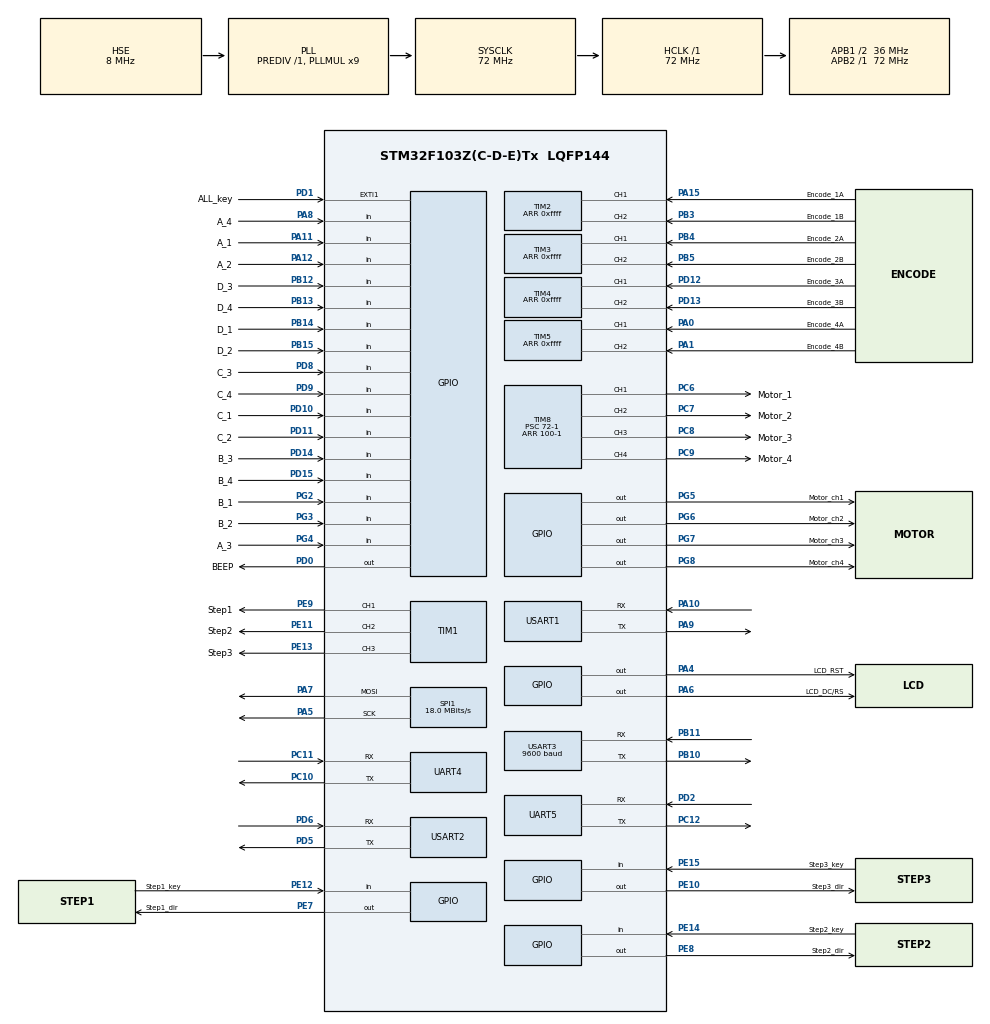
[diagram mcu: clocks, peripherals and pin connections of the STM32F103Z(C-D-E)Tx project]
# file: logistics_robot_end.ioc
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Dma.Request0=USART1_RX
Dma.Request1=USART2_RX
Dma.Request2=USART3_RX
Dma.Request3=USART3_TX
Dma.USART1_RX.0.Direction=DMA_PERIPH_TO_MEMORY
Dma.USART1_RX.0.Instance=DMA1_Channel5
Dma.USART1_RX.0.MemDataAlignment=DMA_MDATAALIGN_BYTE
Dma.USART1_RX.0.MemInc=DMA_MINC_ENABLE
Dma.USART1_RX.0.Mode=DMA_NORMAL
Dma.USART1_RX.0.PeriphDataAlignment=DMA_PDATAALIGN_BYTE
Dma.USART1_RX.0.PeriphInc=DMA_PINC_DISABLE
Dma.USART1_RX.0.Priority=DMA_PRIORITY_LOW
Dma.USART2_RX.1.Direction=DMA_PERIPH_TO_MEMORY
Dma.USART2_RX.1.Instance=DMA1_Channel6
Dma.USART2_RX.1.MemDataAlignment=DMA_MDATAALIGN_BYTE
Dma.USART2_RX.1.MemInc=DMA_MINC_ENABLE
Dma.USART2_RX.1.Mode=DMA_NORMAL
Dma.USART2_RX.1.PeriphDataAlignment=DMA_PDATAALIGN_BYTE
Dma.USART2_RX.1.PeriphInc=DMA_PINC_DISABLE
Dma.USART2_RX.1.Priority=DMA_PRIORITY_VERY_HIGH
Dma.USART3_RX.2.Direction=DMA_PERIPH_TO_MEMORY
Dma.USART3_RX.2.Instance=DMA1_Channel3
Dma.USART3_RX.2.MemDataAlignment=DMA_MDATAALIGN_BYTE
Dma.USART3_RX.2.MemInc=DMA_MINC_ENABLE
Dma.USART3_RX.2.Mode=DMA_NORMAL
Dma.USART3_RX.2.PeriphDataAlignment=DMA_PDATAALIGN_BYTE
Dma.USART3_RX.2.PeriphInc=DMA_PINC_DISABLE
Dma.USART3_RX.2.Priority=DMA_PRIORITY_LOW
Dma.USART3_TX.3.Direction=DMA_MEMORY_TO_PERIPH
Dma.USART3_TX.3.Instance=DMA1_Channel2
Dma.USART3_TX.3.MemDataAlignment=DMA_MDATAALIGN_BYTE
Dma.USART3_TX.3.MemInc=DMA_MINC_ENABLE
Dma.USART3_TX.3.Mode=DMA_NORMAL
Dma.USART3_TX.3.PeriphDataAlignment=DMA_PDATAALIGN_BYTE
Dma.USART3_TX.3.PeriphInc=DMA_PINC_DISABLE
Dma.USART3_TX.3.Priority=DMA_PRIORITY_LOW
Mcu.Family=STM32F1
Mcu.Name=STM32F103Z(C-D-E)Tx
Mcu.Package=LQFP144
NVIC.DMA1_Channel2_IRQn=true\:3\:0\:true\:false\:true\:false\:true
NVIC.DMA1_Channel3_IRQn=true\:3\:0\:true\:false\:true\:false\:true
NVIC.DMA1_Channel5_IRQn=true\:3\:0\:true\:false\:true\:false\:true
NVIC.DMA1_Channel6_IRQn=true\:3\:0\:true\:false\:true\:false\:true
NVIC.EXTI1_IRQn=true\:0\:0\:false\:false\:true\:true\:true
NVIC.PriorityGroup=NVIC_PRIORITYGROUP_4
NVIC.TIM6_IRQn=true\:1\:0\:true\:false\:true\:true\:true
NVIC.USART1_IRQn=true\:4\:0\:true\:false\:true\:true\:true
NVIC.USART2_IRQn=true\:4\:0\:true\:false\:true\:true\:true
NVIC.USART3_IRQn=true\:4\:0\:true\:false\:true\:true\:true
OSC_IN.Mode=HSE-External-Oscillator
OSC_IN.Signal=RCC_OSC_IN
OSC_OUT.Mode=HSE-External-Oscillator
OSC_OUT.Signal=RCC_OSC_OUT
PA0-WKUP.GPIO_Label=Encode_4A
PA0-WKUP.Signal=S_TIM5_CH1
PA1.GPIO_Label=Encode_4B
PA1.Signal=S_TIM5_CH2
PA10.GPIO_PuPd=GPIO_PULLUP
PA10.Mode=Asynchronous
PA10.Signal=USART1_RX
PA11.GPIO_Label=A_1
PA11.GPIO_PuPd=GPIO_PULLDOWN
PA11.Signal=GPIO_Input
PA12.GPIO_Label=A_2
PA12.GPIO_PuPd=GPIO_PULLDOWN
PA12.Signal=GPIO_Input
PA13.Mode=Serial_Wire
PA13.Signal=SYS_JTMS-SWDIO
PA14.Mode=Serial_Wire
PA14.Signal=SYS_JTCK-SWCLK
PA15.GPIO_Label=Encode_1A
PA15.Signal=S_TIM2_CH1_ETR
PA4.GPIO_Label=LCD_RST
PA4.Signal=GPIO_Output
PA5.Mode=TX_Only_Simplex_Unidirect_Master
PA5.Signal=SPI1_SCK
PA6.GPIO_Label=LCD_DC/RS
PA6.Signal=GPIO_Output
PA7.Mode=TX_Only_Simplex_Unidirect_Master
PA7.Signal=SPI1_MOSI
PA8.GPIO_Label=A_4
PA8.GPIO_PuPd=GPIO_PULLDOWN
PA8.Signal=GPIO_Input
PA9.Mode=Asynchronous
PA9.Signal=USART1_TX
PB10.Mode=Asynchronous
PB10.Signal=USART3_TX
PB11.GPIO_PuPd=GPIO_PULLUP
PB11.Mode=Asynchronous
PB11.Signal=USART3_RX
PB12.GPIO_Label=D_3
PB12.GPIO_PuPd=GPIO_PULLDOWN
PB12.Signal=GPIO_Input
PB13.GPIO_Label=D_4
PB13.GPIO_PuPd=GPIO_PULLDOWN
PB13.Signal=GPIO_Input
PB14.GPIO_Label=D_1
PB14.GPIO_PuPd=GPIO_NOPULL
PB14.Signal=GPIO_Input
PB15.GPIO_Label=D_2
PB15.GPIO_PuPd=GPIO_PULLDOWN
PB15.Signal=GPIO_Input
PB3.GPIO_Label=Encode_1B
PB3.Signal=S_TIM2_CH2
PB4.GPIO_Label=Encode_2A
PB4.Signal=S_TIM3_CH1
PB5.GPIO_Label=Encode_2B
PB5.Signal=S_TIM3_CH2
PC10.Mode=Asynchronous
PC10.Signal=UART4_TX
PC11.Mode=Asynchronous
PC11.Signal=UART4_RX
PC12.Mode=Asynchronous
PC12.Signal=UART5_TX
PC6.GPIO_Label=Motor_1
PC6.Signal=S_TIM8_CH1
PC7.GPIO_Label=Motor_2
PC7.Signal=S_TIM8_CH2
PC8.GPIO_Label=Motor_3
PC8.Signal=S_TIM8_CH3
PC9.GPIO_Label=Motor_4
PC9.Signal=S_TIM8_CH4
PD0.GPIO_Label=BEEP
PD0.GPIO_PuPd=GPIO_PULLDOWN
PD0.Signal=GPIO_Output
PD1.GPIO_Label=ALL_key
PD1.GPIO_ModeDefaultEXTI=GPIO_MODE_IT_RISING_FALLING
PD1.GPIO_PuPd=GPIO_PULLUP
PD1.Signal=GPXTI1
PD10.GPIO_Label=C_1
PD10.GPIO_PuPd=GPIO_PULLDOWN
PD10.Signal=GPIO_Input
PD11.GPIO_Label=C_2
PD11.GPIO_PuPd=GPIO_PULLDOWN
PD11.Signal=GPIO_Input
PD12.GPIO_Label=Encode_3A
PD12.Signal=S_TIM4_CH1
PD13.GPIO_Label=Encode_3B
PD13.Signal=S_TIM4_CH2
PD14.GPIO_Label=B_3
PD14.GPIO_PuPd=GPIO_PULLDOWN
PD14.Signal=GPIO_Input
PD15.GPIO_Label=B_4
PD15.GPIO_PuPd=GPIO_PULLDOWN
PD15.Signal=GPIO_Input
PD2.Mode=Asynchronous
PD2.Signal=UART5_RX
PD5.Mode=Asynchronous
PD5.Signal=USART2_TX
PD6.GPIO_PuPd=GPIO_PULLUP
PD6.Mode=Asynchronous
PD6.Signal=USART2_RX
PD8.GPIO_Label=C_3
PD8.GPIO_PuPd=GPIO_PULLDOWN
PD8.Signal=GPIO_Input
PD9.GPIO_Label=C_4
PD9.GPIO_PuPd=GPIO_PULLDOWN
PD9.Signal=GPIO_Input
PE10.GPIO_Label=Step3_dir
PE10.Signal=GPIO_Output
PE11.GPIO_Label=Step2
PE11.Signal=S_TIM1_CH2
PE12.GPIO_Label=Step1_key
PE12.Signal=GPIO_Input
PE13.GPIO_Label=Step3
PE13.Signal=S_TIM1_CH3
PE14.GPIO_Label=Step2_key
PE14.Signal=GPIO_Input
PE15.GPIO_Label=Step3_key
PE15.Signal=GPIO_Input
PE7.GPIO_Label=Step1_dir
PE7.Signal=GPIO_Output
PE8.GPIO_Label=Step2_dir
PE8.Signal=GPIO_Output
PE9.GPIO_Label=Step1
PE9.Signal=S_TIM1_CH1
PG2.GPIO_Label=B_1
PG2.GPIO_PuPd=GPIO_PULLDOWN
PG2.Signal=GPIO_Input
PG3.GPIO_Label=B_2
PG3.GPIO_PuPd=GPIO_PULLDOWN
PG3.Signal=GPIO_Input
PG4.GPIO_Label=A_3
PG4.GPIO_PuPd=GPIO_PULLDOWN
PG4.Signal=GPIO_Input
PG5.GPIO_Label=Motor_ch1
PG5.Signal=GPIO_Output
PG6.GPIO_Label=Motor_ch2
PG6.Signal=GPIO_Output
PG7.GPIO_Label=Motor_ch3
PG7.Signal=GPIO_Output
PG8.GPIO_Label=Motor_ch4
PG8.Signal=GPIO_Output
ProjectManager.HeapSize=0x200
ProjectManager.StackSize=0x400
ProjectManager.TargetToolchain=MDK-ARM V5.27
RCC.AHBFreq_Value=72000000
RCC.APB1CLKDivider=RCC_HCLK_DIV2
RCC.APB1Freq_Value=36000000
RCC.APB1TimFreq_Value=72000000
RCC.APB2Freq_Value=72000000
RCC.APB2TimFreq_Value=72000000
RCC.HCLKFreq_Value=72000000
RCC.PLLMUL=RCC_PLL_MUL9
RCC.PLLSourceVirtual=RCC_PLLSOURCE_HSE
RCC.SYSCLKFreq_VALUE=72000000
RCC.SYSCLKSource=RCC_SYSCLKSOURCE_PLLCLK
RCC.USBFreq_Value=72000000
SH.S_TIM1_CH1.0=TIM1_CH1,Output Compare1 CH1
SH.S_TIM1_CH2.0=TIM1_CH2,Output Compare2 CH2
SH.S_TIM1_CH3.0=TIM1_CH3,Output Compare3 CH3
SH.S_TIM2_CH1_ETR.0=TIM2_CH1,Encoder_Interface
SH.S_TIM2_CH2.0=TIM2_CH2,Encoder_Interface
SH.S_TIM3_CH1.0=TIM3_CH1,Encoder_Interface
SH.S_TIM3_CH2.0=TIM3_CH2,Encoder_Interface
SH.S_TIM4_CH1.0=TIM4_CH1,Encoder_Interface
SH.S_TIM4_CH2.0=TIM4_CH2,Encoder_Interface
SH.S_TIM5_CH1.0=TIM5_CH1,Encoder_Interface
SH.S_TIM5_CH2.0=TIM5_CH2,Encoder_Interface
SH.S_TIM8_CH1.0=TIM8_CH1,PWM Generation1 CH1
SH.S_TIM8_CH2.0=TIM8_CH2,PWM Generation2 CH2
SH.S_TIM8_CH3.0=TIM8_CH3,PWM Generation3 CH3
SH.S_TIM8_CH4.0=TIM8_CH4,PWM Generation4 CH4
SPI1.BaudRatePrescaler=SPI_BAUDRATEPRESCALER_4
SPI1.CalculateBaudRate=18.0 MBits/s
SPI1.Direction=SPI_DIRECTION_2LINES
SPI1.Mode=SPI_MODE_MASTER
SPI1.VirtualType=VM_MASTER
TIM1.Channel-Output\ Compare1\ CH1=TIM_CHANNEL_1
TIM1.Channel-Output\ Compare2\ CH2=TIM_CHANNEL_2
TIM1.Channel-Output\ Compare3\ CH3=TIM_CHANNEL_3
TIM2.EncoderMode=TIM_ENCODERMODE_TI12
TIM2.Period=0xffff
TIM3.EncoderMode=TIM_ENCODERMODE_TI12
TIM3.Period=0xffff
TIM4.EncoderMode=TIM_ENCODERMODE_TI12
TIM4.Period=0xffff
TIM5.EncoderMode=TIM_ENCODERMODE_TI12
TIM5.Period=0xffff
TIM6.Period=100-1
TIM6.Prescaler=7200-1
TIM8.Channel-PWM\ Generation1\ CH1=TIM_CHANNEL_1
TIM8.Channel-PWM\ Generation2\ CH2=TIM_CHANNEL_2
TIM8.Channel-PWM\ Generation3\ CH3=TIM_CHANNEL_3
TIM8.Channel-PWM\ Generation4\ CH4=TIM_CHANNEL_4
TIM8.Period=100-1
TIM8.Prescaler=72-1
UART4.VirtualMode=Asynchronous
UART5.VirtualMode=Asynchronous
USART1.VirtualMode=VM_ASYNC
USART2.VirtualMode=VM_ASYNC
USART3.BaudRate=9600
USART3.VirtualMode=VM_ASYNC
VP_TIM6_VS_ClockSourceINT.Mode=Enable_Timer
VP_TIM8_VS_ClockSourceINT.Mode=Internal
board=custom

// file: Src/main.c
/* USER CODE BEGIN Header */
/**
  ******************************************************************************
  * @file           : main.c
  * @brief          : Main program body
  ******************************************************************************
  * @attention
  *
  * <h2><center>&copy; Copyright (c) 2021 STMicroelectronics.
  * All rights reserved.</center></h2>
  *
  * This software component is licensed by ST under BSD 3-Clause license,
  * the "License"; You may not use this file except in compliance with the
  * License. You may obtain a copy of the License at:
  *                        opensource.org/licenses/BSD-3-Clause
  *
  ******************************************************************************
  */
/* USER CODE END Header */

#include "main.h"
#include "dma.h"
#include "spi.h"
#include "tim.h"
#include "usart.h"
#include "gpio.h"

/* USER CODE BEGIN Includes */
#include "Bsp.h"//板级支持包头文件
/* USER CODE END Includes */

void SystemClock_Config(void);

int main(void)
{

  /* MCU Configuration--------------------------------------------------------*/

  /* Reset of all peripherals, Initializes the Flash interface and the Systick. */
  HAL_Init();

  /* Configure the system clock */
  SystemClock_Config();

  /* Initialize all configured peripherals */
  MX_GPIO_Init();
  MX_DMA_Init();
  MX_SPI1_Init();
  MX_TIM1_Init();
  MX_TIM2_Init();
  MX_TIM3_Init();
  MX_TIM4_Init();
  MX_TIM5_Init();
  MX_TIM6_Init();
  MX_TIM8_Init();
  MX_UART4_Init();
  MX_UART5_Init();
  MX_USART1_UART_Init();
  MX_USART2_UART_Init();
  MX_USART3_UART_Init();
  /* USER CODE BEGIN 2 */
  Bsp_Init();//外设初始化

  HAL_Delay(500);

	Beep(BzzBe);
   #if (Work_Debug_flag == 2)//工作模式
   {
	   Task_Flag = 0;
   }
   #endif
  /* USER CODE END 2 */

  /* Infinite loop */
  /* USER CODE BEGIN WHILE */
  while (1)
  {
	if(run_flag)
    {
    #if (Work_Debug_flag == 1)//工作模式
    {
      Working();
      Task_mode(task_mode);
    }
    #elif (Work_Debug_flag == 2)//调试模式
    {
      if(Task_Flag)//忙碌跳出
      {
        HAL_Delay(300);
        Beep(Be);
      }
      else
      {
        Task_mode(Debug_mode);
      }
    }
    #endif
	}
	else
	{
		Task_stop();
	}

	if(Rack_task_1[0] == 0 && Rack_task_2[0] == 0)//接收扫码数据
	  Usart_rx_MG65();
	else
	{
		if(Number_display_flag == 0x00)
		{
			Number_display();
		}
	}

  Data_display();
   // HAL_Delay(5);
    /* USER CODE END WHILE */

  }
}

void SystemClock_Config(void)
{
  RCC_OscInitTypeDef RCC_OscInitStruct = {0};
  RCC_ClkInitTypeDef RCC_ClkInitStruct = {0};

  /** Initializes the CPU, AHB and APB busses clocks
  */
  RCC_OscInitStruct.OscillatorType = RCC_OSCILLATORTYPE_HSE;
  RCC_OscInitStruct.HSEState = RCC_HSE_ON;
  RCC_OscInitStruct.HSEPredivValue = RCC_HSE_PREDIV_DIV1;
  RCC_OscInitStruct.HSIState = RCC_HSI_ON;
  RCC_OscInitStruct.PLL.PLLState = RCC_PLL_ON;
  RCC_OscInitStruct.PLL.PLLSource = RCC_PLLSOURCE_HSE;
  RCC_OscInitStruct.PLL.PLLMUL = RCC_PLL_MUL9;
  if (HAL_RCC_OscConfig(&RCC_OscInitStruct) != HAL_OK)
  {
    Error_Handler();
  }
  /** Initializes the CPU, AHB and APB busses clocks
  */
  RCC_ClkInitStruct.ClockType = RCC_CLOCKTYPE_HCLK|RCC_CLOCKTYPE_SYSCLK
                              |RCC_CLOCKTYPE_PCLK1|RCC_CLOCKTYPE_PCLK2;
  RCC_ClkInitStruct.SYSCLKSource = RCC_SYSCLKSOURCE_PLLCLK;
  RCC_ClkInitStruct.AHBCLKDivider = RCC_SYSCLK_DIV1;
  RCC_ClkInitStruct.APB1CLKDivider = RCC_HCLK_DIV2;
  RCC_ClkInitStruct.APB2CLKDivider = RCC_HCLK_DIV1;

  if (HAL_RCC_ClockConfig(&RCC_ClkInitStruct, FLASH_LATENCY_2) != HAL_OK)
  {
    Error_Handler();
  }
}

void Error_Handler(void)
{
}

/************************ (C) COPYRIGHT STMicroelectronics *****END OF FILE****/
